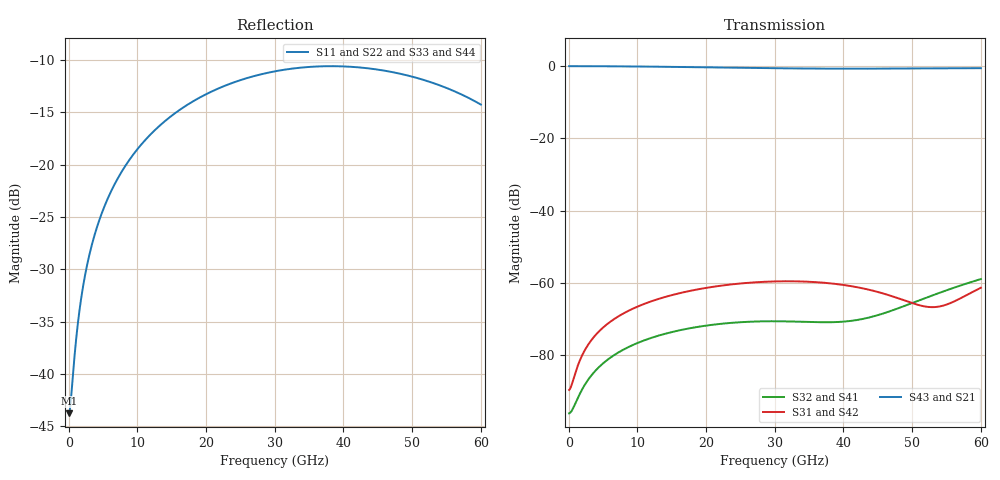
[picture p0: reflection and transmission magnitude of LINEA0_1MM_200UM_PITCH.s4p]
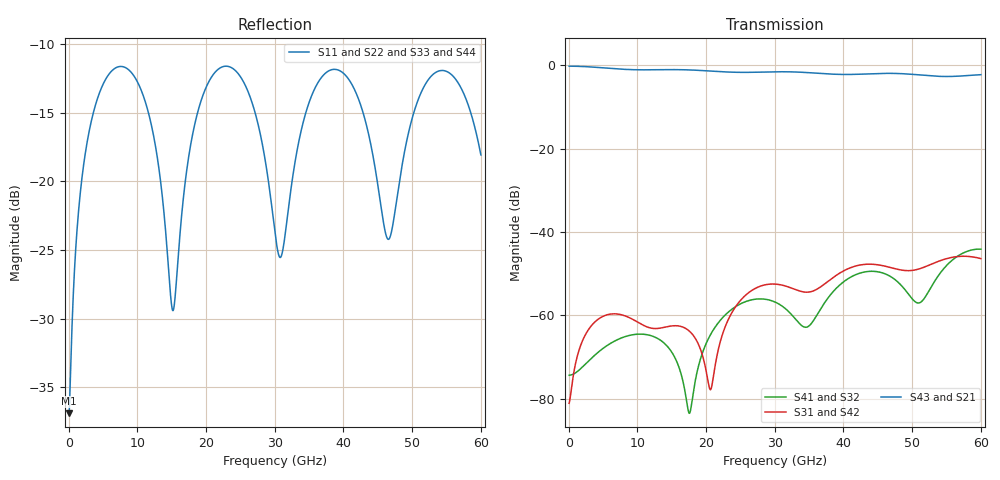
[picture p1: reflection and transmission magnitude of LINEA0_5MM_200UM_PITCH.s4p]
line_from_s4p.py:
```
"""The 200 um pitch line's own parameters (alpha, n_m, Zc) from the CROSSTALK
runs only (LINEA0_1MM/5MM_200UM_PITCH.s4p), compared with the single-line
cascade (../cascade/three_lengths_results.npz, from LINEA0_0p5/1/5MM.s2p).

Ports: 1 = A near, 2 = A far, 3 = B near, 4 = B far.
Even / odd 2-ports: S_e,o(i,j) = S(i,j) +- S(i,j') with j' the same end of the
other line. Per mode, exactly the cascade's method:
  gamma: eigenvalue of T_1mm^-1 T_5mm (4 mm of line; exact, the port residue
         is a similarity transform);
  Zc:    port model P . L(l) . mirror(P), P = series Zs, shunt Yp, with gamma
         fixed, fitted to both lengths per frequency (8 real data, 6 unknowns).
The line is the average of the two modes: gamma = (ge + go)/2, Zc = sqrt(Ze Zo).
The split itself stays with the 2-D port modes (3-D is at its error floor)."""
import numpy as np, matplotlib; matplotlib.use("Agg"); import matplotlib.pyplot as plt
from scipy.optimize import least_squares
from first_look_lib import load4
c, R0 = 299792458, 50.0
f, S1 = load4("LINEA0_1MM_200UM_PITCH.s4p"); f5, S5 = load4("LINEA0_5MM_200UM_PITCH.s4p")
assert np.allclose(f, f5)
w = 2*np.pi*f; F = f/1e9; nf = len(f); DB = 20/np.log(10)

def mode(S, sgn):
    M = np.empty((len(S), 2, 2), complex)
    for i, (a, a2) in enumerate(((0, 2), (1, 3))):
        for j, (b, b2) in enumerate(((0, 2), (1, 3))):
            M[:, i, j] = S[:, a, b] + sgn*S[:, a, b2]
    return M
def s2abcd(S):
    s11, s12, s21, s22 = S[:, 0, 0], S[:, 0, 1], S[:, 1, 0], S[:, 1, 1]
    A = ((1+s11)*(1-s22)+s12*s21)/(2*s21); B = R0*((1+s11)*(1+s22)-s12*s21)/(2*s21)
    C = ((1-s11)*(1-s22)-s12*s21)/(2*s21)/R0; D = ((1-s11)*(1+s22)+s12*s21)/(2*s21)
    return np.stack([np.stack([A, B], -1), np.stack([C, D], -1)], -2)
def gamma_from_trace(T, L):
    A = (T[:, 0, 0]+T[:, 1, 1])/2
    r = np.sqrt(A*A-1+0j); y = A-r; y = np.where(abs(y) > 1, A+r, y)
    return -np.log(abs(y))/L - 1j*np.unwrap(np.angle(y))/L
def Lmat(gl, Z):
    return np.array([[np.cosh(gl), Z*np.sinh(gl)], [np.sinh(gl)/Z, np.cosh(gl)]])
def mirror(P):
    return np.array([[P[1, 1], P[0, 1]], [P[1, 0], P[0, 0]]])
def s_of(T):
    A, B, C, D = T[0, 0], T[0, 1], T[1, 0], T[1, 1]; d = A+B/R0+C*R0+D
    return np.array([(A+B/R0-C*R0-D)/d, 2/d, (-A+B/R0-C*R0+D)/d])

def extract(sgn, Zguess):
    M1, M5 = mode(S1, sgn), mode(S5, sgn)
    T1, T5 = s2abcd(M1), s2abcd(M5)
    g = gamma_from_trace(np.linalg.solve(T1, T5), 4e-3)
    meas = {1e-3: M1, 5e-3: M5}
    Z = np.full(nf, np.nan+0j); res = np.zeros(nf); p0 = np.array([Zguess, 0, 0, 0, 0, 0.0])
    for k in range(1, nf):
        def r(p):
            Zc, Zs, Yp = p[0]+1j*p[1], p[2]+1j*p[3], p[4]+1j*p[5]
            P = np.array([[1, Zs], [0, 1]]) @ np.array([[1, 0], [Yp, 1]])
            out = []
            for L, Mm in meas.items():
                e = s_of(P @ Lmat(g[k]*L, Zc) @ mirror(P)) - np.array([Mm[k, 0, 0], Mm[k, 1, 0], Mm[k, 1, 1]])
                out += [e.real, e.imag]
            return np.concatenate(out)
        sol = least_squares(r, p0, x_scale=[10, 10, 1, 1, 1e-3, 1e-3])
        Z[k] = sol.x[0]+1j*sol.x[1]; p0 = sol.x; res[k] = np.abs(r(sol.x)).max()
    return g, Z, res

ge, Ze, re_ = extract(+1, 37.0)
go, Zo, ro_ = extract(-1, 37.0)
g = (ge+go)/2; Z = np.sqrt(Ze*Zo)
R = np.load("../cascade/three_lengths_results.npz"); gc_, Zc_ = R["g"], R["Zfit"]
assert np.allclose(R["f"], f)
k = slice(1, None)
al, alc = g.real*DB/100, gc_.real*DB/100
n, nc = g.imag*c/w, gc_.imag*c/w
print("f GHz | alpha dB/cm  xtalk  single | n_m  xtalk  single | Re Zc xtalk single | Im Zc xtalk single | fit resid e/o")
for x in (1, 5, 10, 20, 30, 40, 50, 60):
    i = np.argmin(abs(F-x))
    print(f"{F[i]:5.0f} | {al[i]:7.3f} {alc[i]:7.3f} | {n[i]:7.4f} {nc[i]:7.4f} | {Z[i].real:6.2f} {Zc_[i].real:6.2f} | "
          f"{Z[i].imag:6.2f} {Zc_[i].imag:6.2f} | {re_[i]:.1e} {ro_[i]:.1e}")
b = (F >= 2) & (F <= 60)
print("\n2-60 GHz: max |d alpha| %.3f dB/cm (%.1f %%), max |d n_m| %.4f (%.2f %%), max |d Zc| %.2f ohm (%.1f %%)" % (
    np.max(abs(al-alc)[b]), 100*np.max(abs(al-alc)[b]/alc[b]), np.max(abs(n-nc)[b]), 100*np.max(abs(n-nc)[b]/nc[b]),
    np.max(abs(Z-Zc_)[b]), 100*np.max(abs(Z-Zc_)[b]/abs(Zc_[b]))))
print("even-odd from 3-D (floor-limited, for info): dn at 30 GHz = %.5f, 2-D gives ~0.0015" % ((ge-go).imag*c/w)[np.argmin(abs(F-30))])
np.savez("line_from_s4p_results.npz", f=f, g=g, Z=Z, ge=ge, go=go, Ze=Ze, Zo=Zo)

fig, ax = plt.subplots(1, 3, figsize=(15, 4.4))
ax[0].plot(F[k], alc[k], "k", lw=2, label="single-line runs (cascade, 3 lengths)")
ax[0].plot(F[k], al[k], "C3--", lw=1.6, label="crosstalk runs (even/odd average, 2 lengths)")
ax[1].plot(F[k], nc[k], "k", lw=2); ax[1].plot(F[k], n[k], "C3--", lw=1.6)
ax[2].plot(F[k], Zc_[k].real, "k", lw=2); ax[2].plot(F[k], Z[k].real, "C3--", lw=1.6)
ax[2].plot(F[k], Zc_[k].imag, "k:", lw=1.5, label="Im, single"); ax[2].plot(F[k], Z[k].imag, "C3:", lw=1.5, label="Im, crosstalk")
ax[0].set_ylabel("α (dB/cm)"); ax[1].set_ylabel("n_m"); ax[2].set_ylabel("Zc (Ω): solid Re, dotted Im")
ax[1].set_ylim(1.85, 2.15); ax[2].set_ylim(-10, 45); ax[0].legend(fontsize=8); ax[2].legend(fontsize=8)
for a in ax: a.grid(alpha=.3); a.set_xlabel("frequency (GHz)")
fig.suptitle("200 µm pitch line: single-line 3-D runs vs crosstalk 3-D runs")
fig.tight_layout(); fig.savefig("line_from_s4p.png", dpi=120)
```
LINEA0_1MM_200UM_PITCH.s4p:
! TOUCHSTONE file generated by CST MICROWAVE STUDIO
! Date and time: Wed Oct 14 10:40:22 2026
! Project name: LINEA0_1MM_200UM_PITCH.cst
! Parameters = {CHANNEL_PITCH=0.2; GAP=0.00415; L=1; L1=0.02; L2=0.086; L3=0.066; NCELL=1; PITCH=0.18; START_POSITION=0.08; W1=0.003; W2=0.004; W3=0.009; WG=0.04985; gap_oxr=0.00125; linbo3_thickness=0.0002; mtx=0.002; oxiDinE=0.0014; w=0.15; ws=0.035}
! Header version: 2024
! Port assignment regex: !\s*Touchstone port\s*([0-9]+)\s*=\s*(CST MWS port|CST DES external port|CST DES block port)\s*(.+)\s* \(\"(.*)\"\)(\s*mode\s*([0-9]+))?.*
! Touchstone port assignment:
! Touchstone port 1 = CST MWS port 1 ("")
! Touchstone port 2 = CST MWS port 2 ("")
! Touchstone port 3 = CST MWS port 3 ("")
! Touchstone port 4 = CST MWS port 4 ("")
# GHz S MA R 50
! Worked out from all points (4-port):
!   1000 points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, 60 MHz to 60 GHz, reference 50 ohm
!   strongest paths, dB at 60 MHz, 15.06 GHz, 30.06 GHz, 45.06 GHz, 60 GHz:
!     S43: -0.1, -0.3, -0.6, -0.7, -0.6
!     S21: -0.1, -0.3, -0.6, -0.7, -0.6
!     S31: -89.6, -63.4, -59.6, -62.6, -61.4
!     S42: -89.6, -63.4, -59.6, -62.6, -61.4
!     S32: -96.1, -73.6, -70.6, -68.9, -59.0
!     S41: -96.1, -73.6, -70.6, -68.9, -59.0
!   lowest |S11| = -43.7 dB at 60 MHz (marker M1), VSWR 1.01, Z = 50.6 - j0.0756 ohm
!   |S11| at or under -10 dB: start of sweep to end of sweep
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0.06  0.006495 -6.6  0.9921 -0.2  3.3e-05 4.9  1.566e-05 176.4
      0.9921 -0.2  0.006495 -6.6  1.566e-05 176.4  3.3e-05 4.9
      3.3e-05 4.9  1.566e-05 176.4  0.006485 -6.6  0.9921 -0.2
      1.566e-05 176.4  3.3e-05 4.9  0.9921 -0.2  0.006485 -6.6
15.36  0.175 -123.6  0.9694 -38.4  0.0006892 48.8  0.0002121 20.7
       0.9694 -38.4  0.175 -123.6  0.0002121 20.7  0.0006892 48.8
       0.0006892 48.8  0.0002121 20.7  0.1751 -123.6  0.9694 -38.4
       0.0002121 20.7  0.0006892 48.8  0.9694 -38.4  0.1751 -123.6
60  0.1937 137.7  0.9306 -141.3  0.0008552 27.8  0.001127 -105.1
    0.9306 -141.3  0.1937 137.7  0.001127 -105.1  0.0008552 27.8
    0.0008552 27.8  0.001127 -105.1  0.1939 137.7  0.9307 -141.2
    0.001127 -105.1  0.0008552 27.8  0.9307 -141.2  0.1939 137.7
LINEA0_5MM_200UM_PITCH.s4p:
! TOUCHSTONE file generated by CST MICROWAVE STUDIO
! Date and time: Thu Oct 15 09:16:29 2026
! Project name: LINEA0_5MM_200UM_PITCH.cst
! Parameters = {CHANNEL_PITCH=0.2; GAP=0.00415; L=5; L1=0.02; L2=0.086; L3=0.066; NCELL=1; PITCH=0.18; START_POSITION=0.08; W1=0.003; W2=0.004; W3=0.009; WG=0.04985; gap_oxr=0.00125; linbo3_thickness=0.0002; mtx=0.002; oxiDinE=0.0014; w=0.15; ws=0.035}
! Header version: 2024
! Port assignment regex: !\s*Touchstone port\s*([0-9]+)\s*=\s*(CST MWS port|CST DES external port|CST DES block port)\s*(.+)\s* \(\"(.*)\"\)(\s*mode\s*([0-9]+))?.*
! Touchstone port assignment:
! Touchstone port 1 = CST MWS port 1 ("")
! Touchstone port 2 = CST MWS port 2 ("")
! Touchstone port 3 = CST MWS port 3 ("")
! Touchstone port 4 = CST MWS port 4 ("")
# GHz S MA R 50
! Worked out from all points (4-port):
!   1000 points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, 60 MHz to 60 GHz, reference 50 ohm
!   strongest paths, dB at 60 MHz, 15.06 GHz, 30.06 GHz, 45.06 GHz, 60 GHz:
!     S43: -0.2, -1.0, -1.5, -1.9, -2.2
!     S21: -0.2, -1.0, -1.5, -2.0, -2.2
!     S31: -81.1, -62.5, -52.5, -47.9, -46.4
!     S42: -81.1, -62.5, -52.5, -47.9, -46.4
!     S41: -74.4, -69.0, -56.8, -49.6, -44.1
!     S32: -74.4, -69.0, -56.8, -49.6, -44.1
!   lowest |S11| = -36.9 dB at 60 MHz (marker M1), VSWR 1.03, Z = 51.4 - j0.352 ohm
!   |S11| at or under -10 dB: start of sweep to end of sweep
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0.06  0.01428 -13.9  0.9786 -0.8  8.818e-05 9.2  0.0001907 177.2
      0.9786 -0.8  0.01428 -13.9  0.0001907 177.2  8.818e-05 9.2
      8.81e-05 9.2  0.0001911 177.2  0.01426 -13.9  0.9786 -0.8
      0.0001911 177.2  8.81e-05 9.2  0.9786 -0.8  0.01426 -13.9
15.06  0.0343 176.1  0.8898 -178.9  0.0007479 -18.1  0.0003559 117.3
       0.8898 -178.9  0.0343 176.1  0.0003559 117.3  0.0007479 -18.1
       0.000748 -18.1  0.0003557 117.3  0.03434 175.7  0.89 -178.8
       0.0003557 117.3  0.000748 -18.1  0.89 -178.8  0.03434 175.7
60  0.125 146.1  0.7726 22.2  0.004802 -67.7  0.006239 -26.9
    0.7726 22.2  0.125 146.1  0.006239 -26.9  0.004802 -67.7
    0.004801 -67.7  0.006236 -26.9  0.1256 146.0  0.7733 22.3
    0.006236 -26.9  0.004801 -67.7  0.7733 22.3  0.1256 146.0
